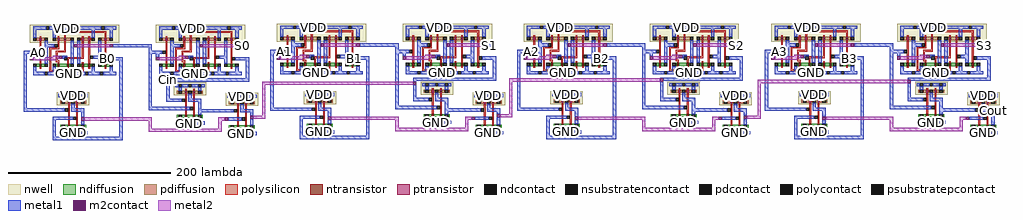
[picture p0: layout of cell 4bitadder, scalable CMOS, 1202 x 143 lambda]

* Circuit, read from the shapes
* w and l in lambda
.subckt 4bitadder A0 A1 A2 A3 B0 B1 B2 B3 Cin Cout GND S0 S1 S2 S3 VDD
M1 n1 A0 GND GND nfet w=4 l=2
M2 n2 B0 GND GND nfet w=4 l=2
M3 n3 A0 n2 GND nfet w=4 l=2
M4 n4 A0 GND GND nfet w=4 l=2
M5 n5 B0 n4 GND nfet w=4 l=2
M6 n6 n1 n3 GND nfet w=4 l=2
M7 GND n7 n6 GND nfet w=4 l=2
M8 GND B0 n7 GND nfet w=4 l=2
M9 n8 n3 GND GND nfet w=4 l=2
M10 n9 Cin GND GND nfet w=4 l=2
M11 n10 Cin GND GND nfet w=4 l=2
M12 n11 n3 n10 GND nfet w=4 l=2
M13 S0 n3 n9 GND nfet w=4 l=2
M14 n12 n8 S0 GND nfet w=4 l=2
M15 GND n13 n12 GND nfet w=4 l=2
M16 GND Cin n13 GND nfet w=4 l=2
M17 n14 n11 GND GND nfet w=4 l=2
M18 n15 n5 n14 GND nfet w=4 l=2
M19 n16 A1 GND GND nfet w=4 l=2
M20 n17 B1 GND GND nfet w=4 l=2
M21 n18 A1 n17 GND nfet w=4 l=2
M22 n19 A1 GND GND nfet w=4 l=2
M23 n20 B1 n19 GND nfet w=4 l=2
M24 n21 n16 n18 GND nfet w=4 l=2
M25 GND n22 n21 GND nfet w=4 l=2
M26 GND B1 n22 GND nfet w=4 l=2
M27 n23 n18 GND GND nfet w=4 l=2
M28 n24 n15 GND GND nfet w=4 l=2
M29 n25 n15 GND GND nfet w=4 l=2
M30 n26 n18 n25 GND nfet w=4 l=2
M31 S1 n18 n24 GND nfet w=4 l=2
M32 n27 n23 S1 GND nfet w=4 l=2
M33 GND n28 n27 GND nfet w=4 l=2
M34 GND n15 n28 GND nfet w=4 l=2
M35 n29 n26 GND GND nfet w=4 l=2
M36 n30 n20 n29 GND nfet w=4 l=2
M37 n31 A2 GND GND nfet w=4 l=2
M38 n32 B2 GND GND nfet w=4 l=2
M39 n33 A2 n32 GND nfet w=4 l=2
M40 n34 A2 GND GND nfet w=4 l=2
M41 n35 B2 n34 GND nfet w=4 l=2
M42 n36 n31 n33 GND nfet w=4 l=2
M43 GND n37 n36 GND nfet w=4 l=2
M44 GND B2 n37 GND nfet w=4 l=2
M45 n38 n33 GND GND nfet w=4 l=2
M46 n39 n30 GND GND nfet w=4 l=2
M47 n40 n30 GND GND nfet w=4 l=2
M48 n41 n33 n40 GND nfet w=4 l=2
M49 S2 n33 n39 GND nfet w=4 l=2
M50 n42 n38 S2 GND nfet w=4 l=2
M51 GND n43 n42 GND nfet w=4 l=2
M52 GND n30 n43 GND nfet w=4 l=2
M53 n44 n41 GND GND nfet w=4 l=2
M54 n45 n35 n44 GND nfet w=4 l=2
M55 n46 A3 GND GND nfet w=4 l=2
M56 n47 B3 GND GND nfet w=4 l=2
M57 n48 A3 n47 GND nfet w=4 l=2
M58 n49 A3 GND GND nfet w=4 l=2
M59 n50 B3 n49 GND nfet w=4 l=2
M60 n51 n46 n48 GND nfet w=4 l=2
M61 GND n52 n51 GND nfet w=4 l=2
M62 GND B3 n52 GND nfet w=4 l=2
M63 n53 n48 GND GND nfet w=4 l=2
M64 n54 n45 GND GND nfet w=4 l=2
M65 n55 n45 GND GND nfet w=4 l=2
M66 n56 n48 n55 GND nfet w=4 l=2
M67 S3 n48 n54 GND nfet w=4 l=2
M68 n57 n53 S3 GND nfet w=4 l=2
M69 GND n58 n57 GND nfet w=4 l=2
M70 GND n45 n58 GND nfet w=4 l=2
M71 n59 n56 GND GND nfet w=4 l=2
M72 Cout n50 n59 GND nfet w=4 l=2
M73 n1 A0 VDD VDD pfet w=4 l=2
M74 n60 n1 VDD VDD pfet w=4 l=2
M75 n3 B0 n60 VDD pfet w=4 l=2
M76 n5 A0 VDD VDD pfet w=4 l=2
M77 VDD B0 n5 VDD pfet w=4 l=2
M78 n61 A0 n3 VDD pfet w=4 l=2
M79 VDD n7 n61 VDD pfet w=4 l=2
M80 VDD B0 n7 VDD pfet w=4 l=2
M81 n8 n3 VDD VDD pfet w=4 l=2
M82 n62 n8 VDD VDD pfet w=4 l=2
M83 n11 Cin VDD VDD pfet w=4 l=2
M84 S0 Cin n62 VDD pfet w=4 l=2
M85 VDD n3 n11 VDD pfet w=4 l=2
M86 n63 n3 S0 VDD pfet w=4 l=2
M87 VDD n13 n63 VDD pfet w=4 l=2
M88 VDD Cin n13 VDD pfet w=4 l=2
M89 n15 n11 VDD VDD pfet w=4 l=2
M90 VDD n5 n15 VDD pfet w=4 l=2
M91 n16 A1 VDD VDD pfet w=4 l=2
M92 n64 n16 VDD VDD pfet w=4 l=2
M93 n18 B1 n64 VDD pfet w=4 l=2
M94 n20 A1 VDD VDD pfet w=4 l=2
M95 VDD B1 n20 VDD pfet w=4 l=2
M96 n65 A1 n18 VDD pfet w=4 l=2
M97 VDD n22 n65 VDD pfet w=4 l=2
M98 VDD B1 n22 VDD pfet w=4 l=2
M99 n23 n18 VDD VDD pfet w=4 l=2
M100 n66 n23 VDD VDD pfet w=4 l=2
M101 n26 n15 VDD VDD pfet w=4 l=2
M102 S1 n15 n66 VDD pfet w=4 l=2
M103 VDD n18 n26 VDD pfet w=4 l=2
M104 n67 n18 S1 VDD pfet w=4 l=2
M105 VDD n28 n67 VDD pfet w=4 l=2
M106 VDD n15 n28 VDD pfet w=4 l=2
M107 n30 n26 VDD VDD pfet w=4 l=2
M108 VDD n20 n30 VDD pfet w=4 l=2
M109 n31 A2 VDD VDD pfet w=4 l=2
M110 n68 n31 VDD VDD pfet w=4 l=2
M111 n33 B2 n68 VDD pfet w=4 l=2
M112 n35 A2 VDD VDD pfet w=4 l=2
M113 VDD B2 n35 VDD pfet w=4 l=2
M114 n69 A2 n33 VDD pfet w=4 l=2
M115 VDD n37 n69 VDD pfet w=4 l=2
M116 VDD B2 n37 VDD pfet w=4 l=2
M117 n38 n33 VDD VDD pfet w=4 l=2
M118 n70 n38 VDD VDD pfet w=4 l=2
M119 n41 n30 VDD VDD pfet w=4 l=2
M120 S2 n30 n70 VDD pfet w=4 l=2
M121 VDD n33 n41 VDD pfet w=4 l=2
M122 n71 n33 S2 VDD pfet w=4 l=2
M123 VDD n43 n71 VDD pfet w=4 l=2
M124 VDD n30 n43 VDD pfet w=4 l=2
M125 n45 n41 VDD VDD pfet w=4 l=2
M126 VDD n35 n45 VDD pfet w=4 l=2
M127 n46 A3 VDD VDD pfet w=4 l=2
M128 n72 n46 VDD VDD pfet w=4 l=2
M129 n48 B3 n72 VDD pfet w=4 l=2
M130 n50 A3 VDD VDD pfet w=4 l=2
M131 VDD B3 n50 VDD pfet w=4 l=2
M132 n73 A3 n48 VDD pfet w=4 l=2
M133 VDD n52 n73 VDD pfet w=4 l=2
M134 VDD B3 n52 VDD pfet w=4 l=2
M135 n53 n48 VDD VDD pfet w=4 l=2
M136 n74 n53 VDD VDD pfet w=4 l=2
M137 n56 n45 VDD VDD pfet w=4 l=2
M138 S3 n45 n74 VDD pfet w=4 l=2
M139 VDD n48 n56 VDD pfet w=4 l=2
M140 n75 n48 S3 VDD pfet w=4 l=2
M141 VDD n58 n75 VDD pfet w=4 l=2
M142 VDD n45 n58 VDD pfet w=4 l=2
M143 Cout n56 VDD VDD pfet w=4 l=2
M144 VDD n50 Cout VDD pfet w=4 l=2
.ends

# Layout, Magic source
magic
tech scmos
<< nwell >>
rect -40 8 70 30
rect 115 8 225 30
rect 264 9 374 31
rect 419 9 529 31
rect 568 9 678 31
rect 723 9 833 31
rect 873 9 983 31
rect 1028 9 1138 31
rect -7 -69 33 -53
rect 137 -57 177 -41
rect 201 -70 241 -54
rect 297 -68 337 -52
rect 441 -56 481 -40
rect 505 -69 545 -53
rect 601 -68 641 -52
rect 745 -56 785 -40
rect 809 -69 849 -53
rect 906 -68 946 -52
rect 1050 -56 1090 -40
rect 1114 -69 1154 -53
<< polysilicon >>
rect 2 20 54 22
rect -28 14 -26 16
rect -6 14 -4 16
rect 2 14 4 20
rect 24 14 26 16
rect 32 14 34 16
rect 52 14 54 20
rect 157 20 209 22
rect 127 14 129 16
rect 149 14 151 16
rect 157 14 159 20
rect 179 14 181 16
rect 187 14 189 16
rect 207 14 209 20
rect 306 21 358 23
rect 276 15 278 17
rect 298 15 300 17
rect 306 15 308 21
rect 328 15 330 17
rect 336 15 338 17
rect 356 15 358 21
rect 461 21 513 23
rect 431 15 433 17
rect 453 15 455 17
rect 461 15 463 21
rect 483 15 485 17
rect 491 15 493 17
rect 511 15 513 21
rect 610 21 662 23
rect 580 15 582 17
rect 602 15 604 17
rect 610 15 612 21
rect 632 15 634 17
rect 640 15 642 17
rect 660 15 662 21
rect 765 21 817 23
rect 735 15 737 17
rect 757 15 759 17
rect 765 15 767 21
rect 787 15 789 17
rect 795 15 797 17
rect 815 15 817 21
rect 915 21 967 23
rect 885 15 887 17
rect 907 15 909 17
rect 915 15 917 21
rect 937 15 939 17
rect 945 15 947 17
rect 965 15 967 21
rect 1070 21 1122 23
rect 1040 15 1042 17
rect 1062 15 1064 17
rect 1070 15 1072 21
rect 1092 15 1094 17
rect 1100 15 1102 17
rect 1120 15 1122 21
rect -28 -18 -26 10
rect -6 2 -4 10
rect -16 0 -4 2
rect -28 -24 -26 -22
rect -16 -26 -14 0
rect 2 -2 4 10
rect -8 -4 4 -2
rect -8 -14 -6 -4
rect 24 -10 26 10
rect 6 -12 26 -10
rect -8 -16 -4 -14
rect -6 -18 -4 -16
rect 6 -18 8 -12
rect 24 -18 26 -16
rect 32 -18 34 10
rect 52 -18 54 10
rect 127 -18 129 10
rect 149 2 151 10
rect 139 0 151 2
rect -6 -24 -4 -22
rect 6 -24 8 -22
rect 24 -26 26 -22
rect 32 -24 34 -22
rect 52 -24 54 -22
rect 127 -24 129 -22
rect -16 -28 26 -26
rect 139 -26 141 0
rect 157 -2 159 10
rect 147 -4 159 -2
rect 147 -14 149 -4
rect 179 -10 181 10
rect 161 -12 181 -10
rect 147 -16 151 -14
rect 149 -18 151 -16
rect 161 -18 163 -12
rect 179 -18 181 -16
rect 187 -18 189 10
rect 207 -18 209 10
rect 276 -17 278 11
rect 298 3 300 11
rect 288 1 300 3
rect 149 -24 151 -22
rect 161 -24 163 -22
rect 179 -26 181 -22
rect 187 -24 189 -22
rect 207 -24 209 -22
rect 276 -23 278 -21
rect 139 -28 181 -26
rect 288 -25 290 1
rect 306 -1 308 11
rect 296 -3 308 -1
rect 296 -13 298 -3
rect 328 -9 330 11
rect 310 -11 330 -9
rect 296 -15 300 -13
rect 298 -17 300 -15
rect 310 -17 312 -11
rect 328 -17 330 -15
rect 336 -17 338 11
rect 356 -17 358 11
rect 431 -17 433 11
rect 453 3 455 11
rect 443 1 455 3
rect 298 -23 300 -21
rect 310 -23 312 -21
rect 328 -25 330 -21
rect 336 -23 338 -21
rect 356 -23 358 -21
rect 431 -23 433 -21
rect 288 -27 330 -25
rect 443 -25 445 1
rect 461 -1 463 11
rect 451 -3 463 -1
rect 451 -13 453 -3
rect 483 -9 485 11
rect 465 -11 485 -9
rect 451 -15 455 -13
rect 453 -17 455 -15
rect 465 -17 467 -11
rect 483 -17 485 -15
rect 491 -17 493 11
rect 511 -17 513 11
rect 580 -17 582 11
rect 602 3 604 11
rect 592 1 604 3
rect 453 -23 455 -21
rect 465 -23 467 -21
rect 483 -25 485 -21
rect 491 -23 493 -21
rect 511 -23 513 -21
rect 580 -23 582 -21
rect 443 -27 485 -25
rect 592 -25 594 1
rect 610 -1 612 11
rect 600 -3 612 -1
rect 600 -13 602 -3
rect 632 -9 634 11
rect 614 -11 634 -9
rect 600 -15 604 -13
rect 602 -17 604 -15
rect 614 -17 616 -11
rect 632 -17 634 -15
rect 640 -17 642 11
rect 660 -17 662 11
rect 735 -17 737 11
rect 757 3 759 11
rect 747 1 759 3
rect 602 -23 604 -21
rect 614 -23 616 -21
rect 632 -25 634 -21
rect 640 -23 642 -21
rect 660 -23 662 -21
rect 735 -23 737 -21
rect 592 -27 634 -25
rect 747 -25 749 1
rect 765 -1 767 11
rect 755 -3 767 -1
rect 755 -13 757 -3
rect 787 -9 789 11
rect 769 -11 789 -9
rect 755 -15 759 -13
rect 757 -17 759 -15
rect 769 -17 771 -11
rect 787 -17 789 -15
rect 795 -17 797 11
rect 815 -17 817 11
rect 885 -17 887 11
rect 907 3 909 11
rect 897 1 909 3
rect 757 -23 759 -21
rect 769 -23 771 -21
rect 787 -25 789 -21
rect 795 -23 797 -21
rect 815 -23 817 -21
rect 885 -23 887 -21
rect 747 -27 789 -25
rect 897 -25 899 1
rect 915 -1 917 11
rect 905 -3 917 -1
rect 905 -13 907 -3
rect 937 -9 939 11
rect 919 -11 939 -9
rect 905 -15 909 -13
rect 907 -17 909 -15
rect 919 -17 921 -11
rect 937 -17 939 -15
rect 945 -17 947 11
rect 965 -17 967 11
rect 1040 -17 1042 11
rect 1062 3 1064 11
rect 1052 1 1064 3
rect 907 -23 909 -21
rect 919 -23 921 -21
rect 937 -25 939 -21
rect 945 -23 947 -21
rect 965 -23 967 -21
rect 1040 -23 1042 -21
rect 897 -27 939 -25
rect 1052 -25 1054 1
rect 1070 -1 1072 11
rect 1060 -3 1072 -1
rect 1060 -13 1062 -3
rect 1092 -9 1094 11
rect 1074 -11 1094 -9
rect 1060 -15 1064 -13
rect 1062 -17 1064 -15
rect 1074 -17 1076 -11
rect 1092 -17 1094 -15
rect 1100 -17 1102 11
rect 1120 -17 1122 11
rect 1062 -23 1064 -21
rect 1074 -23 1076 -21
rect 1092 -25 1094 -21
rect 1100 -23 1102 -21
rect 1120 -23 1122 -21
rect 1052 -27 1094 -25
rect 151 -51 153 -49
rect 161 -51 163 -49
rect 455 -50 457 -48
rect 465 -50 467 -48
rect 759 -50 761 -48
rect 769 -50 771 -48
rect 1064 -50 1066 -48
rect 1074 -50 1076 -48
rect 7 -63 9 -61
rect 17 -63 19 -61
rect 7 -93 9 -67
rect 17 -93 19 -67
rect 151 -81 153 -55
rect 161 -81 163 -55
rect 311 -62 313 -60
rect 321 -62 323 -60
rect 215 -64 217 -62
rect 225 -64 227 -62
rect 151 -87 153 -85
rect 161 -87 163 -85
rect 215 -94 217 -68
rect 225 -94 227 -68
rect 311 -92 313 -66
rect 321 -92 323 -66
rect 455 -80 457 -54
rect 465 -80 467 -54
rect 519 -63 521 -61
rect 529 -63 531 -61
rect 615 -62 617 -60
rect 625 -62 627 -60
rect 455 -86 457 -84
rect 465 -86 467 -84
rect 7 -99 9 -97
rect 17 -99 19 -97
rect 519 -93 521 -67
rect 529 -93 531 -67
rect 615 -92 617 -66
rect 625 -92 627 -66
rect 759 -80 761 -54
rect 769 -80 771 -54
rect 823 -63 825 -61
rect 833 -63 835 -61
rect 920 -62 922 -60
rect 930 -62 932 -60
rect 759 -86 761 -84
rect 769 -86 771 -84
rect 311 -98 313 -96
rect 321 -98 323 -96
rect 823 -93 825 -67
rect 833 -93 835 -67
rect 920 -92 922 -66
rect 930 -92 932 -66
rect 1064 -80 1066 -54
rect 1074 -80 1076 -54
rect 1128 -63 1130 -61
rect 1138 -63 1140 -61
rect 1064 -86 1066 -84
rect 1074 -86 1076 -84
rect 215 -100 217 -98
rect 225 -100 227 -98
rect 519 -99 521 -97
rect 529 -99 531 -97
rect 615 -98 617 -96
rect 625 -98 627 -96
rect 1128 -93 1130 -67
rect 1138 -93 1140 -67
rect 823 -99 825 -97
rect 833 -99 835 -97
rect 920 -98 922 -96
rect 930 -98 932 -96
rect 1128 -99 1130 -97
rect 1138 -99 1140 -97
<< ndiffusion >>
rect -32 -22 -28 -18
rect -26 -22 -22 -18
rect -8 -22 -6 -18
rect -4 -22 6 -18
rect 8 -22 10 -18
rect 22 -22 24 -18
rect 26 -22 32 -18
rect 34 -22 36 -18
rect 48 -22 52 -18
rect 54 -22 58 -18
rect 123 -22 127 -18
rect 129 -22 133 -18
rect 147 -22 149 -18
rect 151 -22 161 -18
rect 163 -22 165 -18
rect 177 -22 179 -18
rect 181 -22 187 -18
rect 189 -22 191 -18
rect 203 -22 207 -18
rect 209 -22 213 -18
rect 272 -21 276 -17
rect 278 -21 282 -17
rect 296 -21 298 -17
rect 300 -21 310 -17
rect 312 -21 314 -17
rect 326 -21 328 -17
rect 330 -21 336 -17
rect 338 -21 340 -17
rect 352 -21 356 -17
rect 358 -21 362 -17
rect 427 -21 431 -17
rect 433 -21 437 -17
rect 451 -21 453 -17
rect 455 -21 465 -17
rect 467 -21 469 -17
rect 481 -21 483 -17
rect 485 -21 491 -17
rect 493 -21 495 -17
rect 507 -21 511 -17
rect 513 -21 517 -17
rect 576 -21 580 -17
rect 582 -21 586 -17
rect 600 -21 602 -17
rect 604 -21 614 -17
rect 616 -21 618 -17
rect 630 -21 632 -17
rect 634 -21 640 -17
rect 642 -21 644 -17
rect 656 -21 660 -17
rect 662 -21 666 -17
rect 731 -21 735 -17
rect 737 -21 741 -17
rect 755 -21 757 -17
rect 759 -21 769 -17
rect 771 -21 773 -17
rect 785 -21 787 -17
rect 789 -21 795 -17
rect 797 -21 799 -17
rect 811 -21 815 -17
rect 817 -21 821 -17
rect 881 -21 885 -17
rect 887 -21 891 -17
rect 905 -21 907 -17
rect 909 -21 919 -17
rect 921 -21 923 -17
rect 935 -21 937 -17
rect 939 -21 945 -17
rect 947 -21 949 -17
rect 961 -21 965 -17
rect 967 -21 971 -17
rect 1036 -21 1040 -17
rect 1042 -21 1046 -17
rect 1060 -21 1062 -17
rect 1064 -21 1074 -17
rect 1076 -21 1078 -17
rect 1090 -21 1092 -17
rect 1094 -21 1100 -17
rect 1102 -21 1104 -17
rect 1116 -21 1120 -17
rect 1122 -21 1126 -17
rect 141 -85 143 -81
rect 147 -85 151 -81
rect 153 -85 161 -81
rect 163 -85 167 -81
rect 171 -85 173 -81
rect -3 -97 -1 -93
rect 3 -97 7 -93
rect 9 -97 17 -93
rect 19 -97 23 -93
rect 27 -97 29 -93
rect 445 -84 447 -80
rect 451 -84 455 -80
rect 457 -84 465 -80
rect 467 -84 471 -80
rect 475 -84 477 -80
rect 205 -98 207 -94
rect 211 -98 215 -94
rect 217 -98 225 -94
rect 227 -98 231 -94
rect 235 -98 237 -94
rect 301 -96 303 -92
rect 307 -96 311 -92
rect 313 -96 321 -92
rect 323 -96 327 -92
rect 331 -96 333 -92
rect 749 -84 751 -80
rect 755 -84 759 -80
rect 761 -84 769 -80
rect 771 -84 775 -80
rect 779 -84 781 -80
rect 509 -97 511 -93
rect 515 -97 519 -93
rect 521 -97 529 -93
rect 531 -97 535 -93
rect 539 -97 541 -93
rect 605 -96 607 -92
rect 611 -96 615 -92
rect 617 -96 625 -92
rect 627 -96 631 -92
rect 635 -96 637 -92
rect 1054 -84 1056 -80
rect 1060 -84 1064 -80
rect 1066 -84 1074 -80
rect 1076 -84 1080 -80
rect 1084 -84 1086 -80
rect 813 -97 815 -93
rect 819 -97 823 -93
rect 825 -97 833 -93
rect 835 -97 839 -93
rect 843 -97 845 -93
rect 910 -96 912 -92
rect 916 -96 920 -92
rect 922 -96 930 -92
rect 932 -96 936 -92
rect 940 -96 942 -92
rect 1118 -97 1120 -93
rect 1124 -97 1128 -93
rect 1130 -97 1138 -93
rect 1140 -97 1144 -93
rect 1148 -97 1150 -93
<< pdiffusion >>
rect -32 10 -28 14
rect -26 10 -22 14
rect -8 10 -6 14
rect -4 10 2 14
rect 4 10 10 14
rect 22 10 24 14
rect 26 10 32 14
rect 34 10 36 14
rect 48 10 52 14
rect 54 10 58 14
rect 123 10 127 14
rect 129 10 133 14
rect 147 10 149 14
rect 151 10 157 14
rect 159 10 165 14
rect 177 10 179 14
rect 181 10 187 14
rect 189 10 191 14
rect 203 10 207 14
rect 209 10 213 14
rect 272 11 276 15
rect 278 11 282 15
rect 296 11 298 15
rect 300 11 306 15
rect 308 11 314 15
rect 326 11 328 15
rect 330 11 336 15
rect 338 11 340 15
rect 352 11 356 15
rect 358 11 362 15
rect 427 11 431 15
rect 433 11 437 15
rect 451 11 453 15
rect 455 11 461 15
rect 463 11 469 15
rect 481 11 483 15
rect 485 11 491 15
rect 493 11 495 15
rect 507 11 511 15
rect 513 11 517 15
rect 576 11 580 15
rect 582 11 586 15
rect 600 11 602 15
rect 604 11 610 15
rect 612 11 618 15
rect 630 11 632 15
rect 634 11 640 15
rect 642 11 644 15
rect 656 11 660 15
rect 662 11 666 15
rect 731 11 735 15
rect 737 11 741 15
rect 755 11 757 15
rect 759 11 765 15
rect 767 11 773 15
rect 785 11 787 15
rect 789 11 795 15
rect 797 11 799 15
rect 811 11 815 15
rect 817 11 821 15
rect 881 11 885 15
rect 887 11 891 15
rect 905 11 907 15
rect 909 11 915 15
rect 917 11 923 15
rect 935 11 937 15
rect 939 11 945 15
rect 947 11 949 15
rect 961 11 965 15
rect 967 11 971 15
rect 1036 11 1040 15
rect 1042 11 1046 15
rect 1060 11 1062 15
rect 1064 11 1070 15
rect 1072 11 1078 15
rect 1090 11 1092 15
rect 1094 11 1100 15
rect 1102 11 1104 15
rect 1116 11 1120 15
rect 1122 11 1126 15
rect 141 -55 143 -51
rect 147 -55 151 -51
rect 153 -55 155 -51
rect 159 -55 161 -51
rect 163 -55 167 -51
rect 171 -55 173 -51
rect 445 -54 447 -50
rect 451 -54 455 -50
rect 457 -54 459 -50
rect 463 -54 465 -50
rect 467 -54 471 -50
rect 475 -54 477 -50
rect 749 -54 751 -50
rect 755 -54 759 -50
rect 761 -54 763 -50
rect 767 -54 769 -50
rect 771 -54 775 -50
rect 779 -54 781 -50
rect 1054 -54 1056 -50
rect 1060 -54 1064 -50
rect 1066 -54 1068 -50
rect 1072 -54 1074 -50
rect 1076 -54 1080 -50
rect 1084 -54 1086 -50
rect -3 -67 -1 -63
rect 3 -67 7 -63
rect 9 -67 11 -63
rect 15 -67 17 -63
rect 19 -67 23 -63
rect 27 -67 29 -63
rect 205 -68 207 -64
rect 211 -68 215 -64
rect 217 -68 219 -64
rect 223 -68 225 -64
rect 227 -68 231 -64
rect 235 -68 237 -64
rect 301 -66 303 -62
rect 307 -66 311 -62
rect 313 -66 315 -62
rect 319 -66 321 -62
rect 323 -66 327 -62
rect 331 -66 333 -62
rect 509 -67 511 -63
rect 515 -67 519 -63
rect 521 -67 523 -63
rect 527 -67 529 -63
rect 531 -67 535 -63
rect 539 -67 541 -63
rect 605 -66 607 -62
rect 611 -66 615 -62
rect 617 -66 619 -62
rect 623 -66 625 -62
rect 627 -66 631 -62
rect 635 -66 637 -62
rect 813 -67 815 -63
rect 819 -67 823 -63
rect 825 -67 827 -63
rect 831 -67 833 -63
rect 835 -67 839 -63
rect 843 -67 845 -63
rect 910 -66 912 -62
rect 916 -66 920 -62
rect 922 -66 924 -62
rect 928 -66 930 -62
rect 932 -66 936 -62
rect 940 -66 942 -62
rect 1118 -67 1120 -63
rect 1124 -67 1128 -63
rect 1130 -67 1132 -63
rect 1136 -67 1138 -63
rect 1140 -67 1144 -63
rect 1148 -67 1150 -63
<< metal1 >>
rect -36 24 -20 28
rect -16 24 14 28
rect 18 24 48 28
rect 52 24 66 28
rect 119 24 135 28
rect 139 24 169 28
rect 173 24 203 28
rect 207 24 221 28
rect 268 25 284 29
rect 288 25 318 29
rect 322 25 352 29
rect 356 25 370 29
rect 423 25 439 29
rect 443 25 473 29
rect 477 25 507 29
rect 511 25 525 29
rect 572 25 588 29
rect 592 25 622 29
rect 626 25 656 29
rect 660 25 674 29
rect 727 25 743 29
rect 747 25 777 29
rect 781 25 811 29
rect 815 25 829 29
rect 877 25 893 29
rect 897 25 927 29
rect 931 25 961 29
rect 965 25 979 29
rect 1032 25 1048 29
rect 1052 25 1082 29
rect 1086 25 1116 29
rect 1120 25 1134 29
rect -36 14 -32 24
rect -12 14 -8 24
rect 36 14 40 24
rect 58 14 62 24
rect -22 6 -18 10
rect -22 2 -10 6
rect -48 -6 -32 -2
rect -48 -73 -44 -6
rect -40 -10 -36 -6
rect -22 -18 -18 2
rect 0 -10 6 -8
rect 0 -12 2 -10
rect 10 -18 14 10
rect 119 14 123 24
rect 143 14 147 24
rect 191 14 195 24
rect 213 14 217 24
rect 18 -18 22 10
rect 44 -8 48 10
rect 133 6 137 10
rect 62 2 110 6
rect 38 -12 48 -8
rect 106 -2 110 2
rect 133 2 145 6
rect 106 -6 123 -2
rect 44 -18 48 -12
rect 58 -14 74 -10
rect -36 -28 -32 -22
rect -12 -28 -8 -22
rect 36 -28 40 -22
rect 58 -28 62 -22
rect -36 -32 -22 -28
rect -18 -32 28 -28
rect 32 -32 46 -28
rect 50 -32 66 -28
rect -5 -59 -1 -55
rect 3 -59 11 -55
rect 15 -59 23 -55
rect 27 -59 31 -55
rect -1 -63 3 -59
rect 23 -63 27 -59
rect 11 -73 15 -67
rect -48 -77 3 -73
rect 11 -77 27 -73
rect -12 -87 13 -83
rect 23 -84 27 -77
rect -12 -108 -8 -87
rect 23 -93 27 -88
rect -1 -101 3 -97
rect -5 -105 -1 -101
rect 3 -105 12 -101
rect 16 -105 23 -101
rect 27 -105 31 -101
rect 70 -108 74 -14
rect 106 -71 110 -6
rect 115 -10 119 -6
rect 133 -18 137 2
rect 155 -10 161 -8
rect 155 -12 157 -10
rect 165 -18 169 10
rect 268 15 272 25
rect 292 15 296 25
rect 340 15 344 25
rect 362 15 366 25
rect 173 -18 177 10
rect 199 -8 203 10
rect 282 7 286 11
rect 218 2 224 6
rect 282 3 294 7
rect 193 -12 203 -8
rect 256 -5 272 -1
rect 199 -18 203 -12
rect 213 -14 230 -10
rect 119 -28 123 -22
rect 143 -28 147 -22
rect 191 -28 195 -22
rect 213 -28 217 -22
rect 119 -32 133 -28
rect 137 -32 183 -28
rect 187 -32 201 -28
rect 205 -32 221 -28
rect 226 -36 230 -14
rect 128 -40 230 -36
rect 128 -61 132 -40
rect 139 -47 143 -43
rect 147 -47 155 -43
rect 159 -47 167 -43
rect 171 -47 175 -43
rect 143 -51 147 -47
rect 167 -51 171 -47
rect 155 -61 159 -55
rect 203 -60 207 -56
rect 211 -60 219 -56
rect 223 -60 231 -56
rect 235 -60 239 -56
rect 128 -65 147 -61
rect 155 -65 171 -61
rect 106 -75 157 -71
rect 167 -74 171 -65
rect 207 -64 211 -60
rect 231 -64 235 -60
rect 219 -74 223 -68
rect 256 -72 260 -5
rect 264 -9 268 -5
rect 282 -17 286 3
rect 304 -9 310 -7
rect 304 -11 306 -9
rect 314 -17 318 11
rect 423 15 427 25
rect 447 15 451 25
rect 495 15 499 25
rect 517 15 521 25
rect 322 -17 326 11
rect 348 -7 352 11
rect 437 7 441 11
rect 366 3 414 7
rect 342 -11 352 -7
rect 410 -1 414 3
rect 437 3 449 7
rect 410 -5 427 -1
rect 348 -17 352 -11
rect 362 -13 378 -9
rect 268 -27 272 -21
rect 292 -27 296 -21
rect 340 -27 344 -21
rect 362 -27 366 -21
rect 268 -31 282 -27
rect 286 -31 332 -27
rect 336 -31 350 -27
rect 354 -31 370 -27
rect 299 -58 303 -54
rect 307 -58 315 -54
rect 319 -58 327 -54
rect 331 -58 335 -54
rect 303 -62 307 -58
rect 327 -62 331 -58
rect 315 -72 319 -66
rect 167 -78 211 -74
rect 219 -78 235 -74
rect 256 -76 307 -72
rect 315 -76 331 -72
rect 167 -81 171 -78
rect 231 -82 235 -78
rect 143 -89 147 -85
rect 204 -88 221 -84
rect 139 -93 143 -89
rect 147 -93 155 -89
rect 159 -93 167 -89
rect 171 -93 175 -89
rect 231 -94 235 -86
rect 292 -86 317 -82
rect 327 -83 331 -76
rect 207 -102 211 -98
rect 203 -106 207 -102
rect 211 -106 219 -102
rect 223 -106 231 -102
rect 235 -106 239 -102
rect -12 -112 74 -108
rect 292 -107 296 -86
rect 327 -92 331 -87
rect 303 -100 307 -96
rect 299 -104 303 -100
rect 307 -104 316 -100
rect 320 -104 327 -100
rect 331 -104 335 -100
rect 374 -107 378 -13
rect 410 -70 414 -5
rect 419 -9 423 -5
rect 437 -17 441 3
rect 459 -9 465 -7
rect 459 -11 461 -9
rect 469 -17 473 11
rect 572 15 576 25
rect 596 15 600 25
rect 644 15 648 25
rect 666 15 670 25
rect 477 -17 481 11
rect 503 -7 507 11
rect 586 7 590 11
rect 522 3 528 7
rect 586 3 598 7
rect 497 -11 507 -7
rect 560 -5 576 -1
rect 503 -17 507 -11
rect 517 -13 534 -9
rect 423 -27 427 -21
rect 447 -27 451 -21
rect 495 -27 499 -21
rect 517 -27 521 -21
rect 423 -31 437 -27
rect 441 -31 487 -27
rect 491 -31 505 -27
rect 509 -31 525 -27
rect 530 -35 534 -13
rect 432 -39 534 -35
rect 432 -40 436 -39
rect 432 -60 436 -44
rect 443 -46 447 -42
rect 451 -46 459 -42
rect 463 -46 471 -42
rect 475 -46 479 -42
rect 447 -50 451 -46
rect 471 -50 475 -46
rect 459 -60 463 -54
rect 507 -59 511 -55
rect 515 -59 523 -55
rect 527 -59 535 -55
rect 539 -59 543 -55
rect 432 -64 451 -60
rect 459 -64 475 -60
rect 410 -74 461 -70
rect 471 -73 475 -64
rect 511 -63 515 -59
rect 535 -63 539 -59
rect 523 -73 527 -67
rect 560 -72 564 -5
rect 568 -9 572 -5
rect 586 -17 590 3
rect 608 -9 614 -7
rect 608 -11 610 -9
rect 618 -17 622 11
rect 727 15 731 25
rect 751 15 755 25
rect 799 15 803 25
rect 821 15 825 25
rect 626 -17 630 11
rect 652 -7 656 11
rect 741 7 745 11
rect 670 3 718 7
rect 646 -11 656 -7
rect 714 -1 718 3
rect 741 3 753 7
rect 714 -5 731 -1
rect 652 -17 656 -11
rect 666 -13 682 -9
rect 572 -27 576 -21
rect 596 -27 600 -21
rect 644 -27 648 -21
rect 666 -27 670 -21
rect 572 -31 586 -27
rect 590 -31 636 -27
rect 640 -31 654 -27
rect 658 -31 674 -27
rect 603 -58 607 -54
rect 611 -58 619 -54
rect 623 -58 631 -54
rect 635 -58 639 -54
rect 607 -62 611 -58
rect 631 -62 635 -58
rect 619 -72 623 -66
rect 471 -77 515 -73
rect 523 -77 539 -73
rect 560 -76 611 -72
rect 619 -76 635 -72
rect 471 -80 475 -77
rect 535 -80 539 -77
rect 447 -88 451 -84
rect 508 -87 525 -83
rect 443 -92 447 -88
rect 451 -92 459 -88
rect 463 -92 471 -88
rect 475 -92 479 -88
rect 535 -93 539 -84
rect 596 -86 621 -82
rect 631 -83 635 -76
rect 511 -101 515 -97
rect 507 -105 511 -101
rect 515 -105 523 -101
rect 527 -105 535 -101
rect 539 -105 543 -101
rect 292 -111 378 -107
rect 596 -107 600 -86
rect 631 -92 635 -87
rect 607 -100 611 -96
rect 603 -104 607 -100
rect 611 -104 620 -100
rect 624 -104 631 -100
rect 635 -104 639 -100
rect 678 -107 682 -13
rect 714 -70 718 -5
rect 723 -9 727 -5
rect 741 -17 745 3
rect 763 -9 769 -7
rect 763 -11 765 -9
rect 773 -17 777 11
rect 877 15 881 25
rect 901 15 905 25
rect 949 15 953 25
rect 971 15 975 25
rect 781 -17 785 11
rect 807 -7 811 11
rect 891 7 895 11
rect 826 3 832 7
rect 891 3 903 7
rect 801 -11 811 -7
rect 865 -5 881 -1
rect 807 -17 811 -11
rect 821 -13 838 -9
rect 727 -27 731 -21
rect 751 -27 755 -21
rect 799 -27 803 -21
rect 821 -27 825 -21
rect 727 -31 741 -27
rect 745 -31 791 -27
rect 795 -31 809 -27
rect 813 -31 829 -27
rect 834 -35 838 -13
rect 736 -36 838 -35
rect 740 -39 838 -36
rect 736 -60 740 -40
rect 747 -46 751 -42
rect 755 -46 763 -42
rect 767 -46 775 -42
rect 779 -46 783 -42
rect 751 -50 755 -46
rect 775 -50 779 -46
rect 763 -60 767 -54
rect 811 -59 815 -55
rect 819 -59 827 -55
rect 831 -59 839 -55
rect 843 -59 847 -55
rect 736 -64 755 -60
rect 763 -64 779 -60
rect 714 -74 765 -70
rect 775 -73 779 -64
rect 815 -63 819 -59
rect 839 -63 843 -59
rect 827 -73 831 -67
rect 865 -72 869 -5
rect 873 -9 877 -5
rect 891 -17 895 3
rect 913 -9 919 -7
rect 913 -11 915 -9
rect 923 -17 927 11
rect 1032 15 1036 25
rect 1056 15 1060 25
rect 1104 15 1108 25
rect 1126 15 1130 25
rect 931 -17 935 11
rect 957 -7 961 11
rect 1046 7 1050 11
rect 975 3 1023 7
rect 951 -11 961 -7
rect 1019 -1 1023 3
rect 1046 3 1058 7
rect 1019 -5 1036 -1
rect 957 -17 961 -11
rect 971 -13 987 -9
rect 877 -27 881 -21
rect 901 -27 905 -21
rect 949 -27 953 -21
rect 971 -27 975 -21
rect 877 -31 891 -27
rect 895 -31 941 -27
rect 945 -31 959 -27
rect 963 -31 979 -27
rect 908 -58 912 -54
rect 916 -58 924 -54
rect 928 -58 936 -54
rect 940 -58 944 -54
rect 912 -62 916 -58
rect 936 -62 940 -58
rect 924 -72 928 -66
rect 775 -77 819 -73
rect 827 -77 843 -73
rect 865 -76 916 -72
rect 924 -76 940 -72
rect 775 -80 779 -77
rect 839 -82 843 -77
rect 751 -88 755 -84
rect 812 -87 829 -83
rect 747 -92 751 -88
rect 755 -92 763 -88
rect 767 -92 775 -88
rect 779 -92 783 -88
rect 839 -93 843 -86
rect 901 -86 926 -82
rect 936 -83 940 -76
rect 815 -101 819 -97
rect 811 -105 815 -101
rect 819 -105 827 -101
rect 831 -105 839 -101
rect 843 -105 847 -101
rect 596 -111 682 -107
rect 901 -107 905 -86
rect 936 -92 940 -87
rect 912 -100 916 -96
rect 908 -104 912 -100
rect 916 -104 925 -100
rect 929 -104 936 -100
rect 940 -104 944 -100
rect 983 -107 987 -13
rect 1019 -70 1023 -5
rect 1028 -9 1032 -5
rect 1046 -17 1050 3
rect 1068 -9 1074 -7
rect 1068 -11 1070 -9
rect 1078 -17 1082 11
rect 1086 -17 1090 11
rect 1112 -7 1116 11
rect 1131 3 1137 7
rect 1106 -11 1116 -7
rect 1112 -17 1116 -11
rect 1126 -13 1143 -9
rect 1032 -27 1036 -21
rect 1056 -27 1060 -21
rect 1104 -27 1108 -21
rect 1126 -27 1130 -21
rect 1032 -31 1046 -27
rect 1050 -31 1096 -27
rect 1100 -31 1114 -27
rect 1118 -31 1134 -27
rect 1139 -35 1143 -13
rect 1041 -38 1143 -35
rect 1045 -39 1143 -38
rect 1041 -60 1045 -42
rect 1052 -46 1056 -42
rect 1060 -46 1068 -42
rect 1072 -46 1080 -42
rect 1084 -46 1088 -42
rect 1056 -50 1060 -46
rect 1080 -50 1084 -46
rect 1068 -60 1072 -54
rect 1116 -59 1120 -55
rect 1124 -59 1132 -55
rect 1136 -59 1144 -55
rect 1148 -59 1152 -55
rect 1041 -64 1060 -60
rect 1068 -64 1084 -60
rect 1019 -74 1070 -70
rect 1080 -73 1084 -64
rect 1120 -63 1124 -59
rect 1144 -63 1148 -59
rect 1132 -73 1136 -67
rect 1080 -77 1124 -73
rect 1132 -77 1148 -73
rect 1080 -80 1084 -77
rect 1056 -88 1060 -84
rect 1117 -87 1134 -83
rect 1052 -92 1056 -88
rect 1060 -92 1068 -88
rect 1072 -92 1080 -88
rect 1084 -92 1088 -88
rect 1144 -93 1148 -77
rect 1120 -101 1124 -97
rect 1116 -105 1120 -101
rect 1124 -105 1132 -101
rect 1136 -105 1144 -101
rect 1148 -105 1152 -101
rect 901 -111 987 -107
<< metal2 >>
rect 18 2 58 6
rect 173 2 214 6
rect 322 3 362 7
rect 477 3 518 7
rect 626 3 666 7
rect 781 3 822 7
rect 931 3 971 7
rect 1086 3 1127 7
rect -12 -10 -4 -8
rect -36 -12 -4 -10
rect 143 -10 151 -8
rect -36 -14 -8 -12
rect 119 -12 151 -10
rect 292 -9 300 -7
rect 119 -14 147 -12
rect 268 -11 300 -9
rect 447 -9 455 -7
rect 268 -13 296 -11
rect 423 -11 455 -9
rect 596 -9 604 -7
rect 423 -13 451 -11
rect 572 -11 604 -9
rect 751 -9 759 -7
rect 572 -13 600 -11
rect 727 -11 759 -9
rect 901 -9 909 -7
rect 727 -13 755 -11
rect 877 -11 909 -9
rect 1056 -9 1064 -7
rect 877 -13 905 -11
rect 1032 -11 1064 -9
rect 1032 -13 1060 -11
rect 550 -40 736 -36
rect 246 -44 432 -40
rect 246 -82 250 -44
rect 550 -80 554 -40
rect 27 -88 110 -84
rect 106 -98 110 -88
rect 192 -88 200 -84
rect 235 -86 250 -82
rect 331 -87 414 -83
rect 192 -98 196 -88
rect 106 -102 196 -98
rect 410 -97 414 -87
rect 496 -87 504 -83
rect 539 -84 554 -80
rect 856 -42 1041 -38
rect 856 -82 860 -42
rect 635 -87 718 -83
rect 496 -97 500 -87
rect 410 -101 500 -97
rect 714 -97 718 -87
rect 800 -87 808 -83
rect 843 -86 860 -82
rect 940 -87 1023 -83
rect 800 -97 804 -87
rect 714 -101 804 -97
rect 1019 -97 1023 -87
rect 1105 -87 1113 -83
rect 1105 -97 1109 -87
rect 1019 -101 1109 -97
<< ntransistor >>
rect -28 -22 -26 -18
rect -6 -22 -4 -18
rect 6 -22 8 -18
rect 24 -22 26 -18
rect 32 -22 34 -18
rect 52 -22 54 -18
rect 127 -22 129 -18
rect 149 -22 151 -18
rect 161 -22 163 -18
rect 179 -22 181 -18
rect 187 -22 189 -18
rect 207 -22 209 -18
rect 276 -21 278 -17
rect 298 -21 300 -17
rect 310 -21 312 -17
rect 328 -21 330 -17
rect 336 -21 338 -17
rect 356 -21 358 -17
rect 431 -21 433 -17
rect 453 -21 455 -17
rect 465 -21 467 -17
rect 483 -21 485 -17
rect 491 -21 493 -17
rect 511 -21 513 -17
rect 580 -21 582 -17
rect 602 -21 604 -17
rect 614 -21 616 -17
rect 632 -21 634 -17
rect 640 -21 642 -17
rect 660 -21 662 -17
rect 735 -21 737 -17
rect 757 -21 759 -17
rect 769 -21 771 -17
rect 787 -21 789 -17
rect 795 -21 797 -17
rect 815 -21 817 -17
rect 885 -21 887 -17
rect 907 -21 909 -17
rect 919 -21 921 -17
rect 937 -21 939 -17
rect 945 -21 947 -17
rect 965 -21 967 -17
rect 1040 -21 1042 -17
rect 1062 -21 1064 -17
rect 1074 -21 1076 -17
rect 1092 -21 1094 -17
rect 1100 -21 1102 -17
rect 1120 -21 1122 -17
rect 151 -85 153 -81
rect 161 -85 163 -81
rect 7 -97 9 -93
rect 17 -97 19 -93
rect 455 -84 457 -80
rect 465 -84 467 -80
rect 215 -98 217 -94
rect 225 -98 227 -94
rect 311 -96 313 -92
rect 321 -96 323 -92
rect 759 -84 761 -80
rect 769 -84 771 -80
rect 519 -97 521 -93
rect 529 -97 531 -93
rect 615 -96 617 -92
rect 625 -96 627 -92
rect 1064 -84 1066 -80
rect 1074 -84 1076 -80
rect 823 -97 825 -93
rect 833 -97 835 -93
rect 920 -96 922 -92
rect 930 -96 932 -92
rect 1128 -97 1130 -93
rect 1138 -97 1140 -93
<< ptransistor >>
rect -28 10 -26 14
rect -6 10 -4 14
rect 2 10 4 14
rect 24 10 26 14
rect 32 10 34 14
rect 52 10 54 14
rect 127 10 129 14
rect 149 10 151 14
rect 157 10 159 14
rect 179 10 181 14
rect 187 10 189 14
rect 207 10 209 14
rect 276 11 278 15
rect 298 11 300 15
rect 306 11 308 15
rect 328 11 330 15
rect 336 11 338 15
rect 356 11 358 15
rect 431 11 433 15
rect 453 11 455 15
rect 461 11 463 15
rect 483 11 485 15
rect 491 11 493 15
rect 511 11 513 15
rect 580 11 582 15
rect 602 11 604 15
rect 610 11 612 15
rect 632 11 634 15
rect 640 11 642 15
rect 660 11 662 15
rect 735 11 737 15
rect 757 11 759 15
rect 765 11 767 15
rect 787 11 789 15
rect 795 11 797 15
rect 815 11 817 15
rect 885 11 887 15
rect 907 11 909 15
rect 915 11 917 15
rect 937 11 939 15
rect 945 11 947 15
rect 965 11 967 15
rect 1040 11 1042 15
rect 1062 11 1064 15
rect 1070 11 1072 15
rect 1092 11 1094 15
rect 1100 11 1102 15
rect 1120 11 1122 15
rect 151 -55 153 -51
rect 161 -55 163 -51
rect 455 -54 457 -50
rect 465 -54 467 -50
rect 759 -54 761 -50
rect 769 -54 771 -50
rect 1064 -54 1066 -50
rect 1074 -54 1076 -50
rect 7 -67 9 -63
rect 17 -67 19 -63
rect 215 -68 217 -64
rect 225 -68 227 -64
rect 311 -66 313 -62
rect 321 -66 323 -62
rect 519 -67 521 -63
rect 529 -67 531 -63
rect 615 -66 617 -62
rect 625 -66 627 -62
rect 823 -67 825 -63
rect 833 -67 835 -63
rect 920 -66 922 -62
rect 930 -66 932 -62
rect 1128 -67 1130 -63
rect 1138 -67 1140 -63
<< polycontact >>
rect -32 -6 -28 -2
rect -10 2 -6 6
rect 2 -14 6 -10
rect 34 -12 38 -8
rect 123 -6 127 -2
rect 54 -14 58 -10
rect 145 2 149 6
rect 157 -14 161 -10
rect 189 -12 193 -8
rect 272 -5 276 -1
rect 209 -14 213 -10
rect 294 3 298 7
rect 306 -13 310 -9
rect 338 -11 342 -7
rect 427 -5 431 -1
rect 358 -13 362 -9
rect 449 3 453 7
rect 461 -13 465 -9
rect 493 -11 497 -7
rect 576 -5 580 -1
rect 513 -13 517 -9
rect 598 3 602 7
rect 610 -13 614 -9
rect 642 -11 646 -7
rect 731 -5 735 -1
rect 662 -13 666 -9
rect 753 3 757 7
rect 765 -13 769 -9
rect 797 -11 801 -7
rect 881 -5 885 -1
rect 817 -13 821 -9
rect 903 3 907 7
rect 915 -13 919 -9
rect 947 -11 951 -7
rect 1036 -5 1040 -1
rect 967 -13 971 -9
rect 1058 3 1062 7
rect 1070 -13 1074 -9
rect 1102 -11 1106 -7
rect 1122 -13 1126 -9
rect 147 -65 151 -61
rect 3 -77 7 -73
rect 13 -87 17 -83
rect 157 -75 161 -71
rect 451 -64 455 -60
rect 211 -78 215 -74
rect 221 -88 225 -84
rect 307 -76 311 -72
rect 317 -86 321 -82
rect 461 -74 465 -70
rect 755 -64 759 -60
rect 515 -77 519 -73
rect 525 -87 529 -83
rect 611 -76 615 -72
rect 621 -86 625 -82
rect 765 -74 769 -70
rect 1060 -64 1064 -60
rect 819 -77 823 -73
rect 829 -87 833 -83
rect 916 -76 920 -72
rect 926 -86 930 -82
rect 1070 -74 1074 -70
rect 1124 -77 1128 -73
rect 1134 -87 1138 -83
<< ndcontact >>
rect -36 -22 -32 -18
rect -22 -22 -18 -18
rect -12 -22 -8 -18
rect 10 -22 14 -18
rect 18 -22 22 -18
rect 36 -22 40 -18
rect 44 -22 48 -18
rect 58 -22 62 -18
rect 119 -22 123 -18
rect 133 -22 137 -18
rect 143 -22 147 -18
rect 165 -22 169 -18
rect 173 -22 177 -18
rect 191 -22 195 -18
rect 199 -22 203 -18
rect 213 -22 217 -18
rect 268 -21 272 -17
rect 282 -21 286 -17
rect 292 -21 296 -17
rect 314 -21 318 -17
rect 322 -21 326 -17
rect 340 -21 344 -17
rect 348 -21 352 -17
rect 362 -21 366 -17
rect 423 -21 427 -17
rect 437 -21 441 -17
rect 447 -21 451 -17
rect 469 -21 473 -17
rect 477 -21 481 -17
rect 495 -21 499 -17
rect 503 -21 507 -17
rect 517 -21 521 -17
rect 572 -21 576 -17
rect 586 -21 590 -17
rect 596 -21 600 -17
rect 618 -21 622 -17
rect 626 -21 630 -17
rect 644 -21 648 -17
rect 652 -21 656 -17
rect 666 -21 670 -17
rect 727 -21 731 -17
rect 741 -21 745 -17
rect 751 -21 755 -17
rect 773 -21 777 -17
rect 781 -21 785 -17
rect 799 -21 803 -17
rect 807 -21 811 -17
rect 821 -21 825 -17
rect 877 -21 881 -17
rect 891 -21 895 -17
rect 901 -21 905 -17
rect 923 -21 927 -17
rect 931 -21 935 -17
rect 949 -21 953 -17
rect 957 -21 961 -17
rect 971 -21 975 -17
rect 1032 -21 1036 -17
rect 1046 -21 1050 -17
rect 1056 -21 1060 -17
rect 1078 -21 1082 -17
rect 1086 -21 1090 -17
rect 1104 -21 1108 -17
rect 1112 -21 1116 -17
rect 1126 -21 1130 -17
rect 143 -85 147 -81
rect 167 -85 171 -81
rect -1 -97 3 -93
rect 23 -97 27 -93
rect 447 -84 451 -80
rect 471 -84 475 -80
rect 207 -98 211 -94
rect 231 -98 235 -94
rect 303 -96 307 -92
rect 327 -96 331 -92
rect 751 -84 755 -80
rect 775 -84 779 -80
rect 511 -97 515 -93
rect 535 -97 539 -93
rect 607 -96 611 -92
rect 631 -96 635 -92
rect 1056 -84 1060 -80
rect 1080 -84 1084 -80
rect 815 -97 819 -93
rect 839 -97 843 -93
rect 912 -96 916 -92
rect 936 -96 940 -92
rect 1120 -97 1124 -93
rect 1144 -97 1148 -93
<< pdcontact >>
rect -36 10 -32 14
rect -22 10 -18 14
rect -12 10 -8 14
rect 10 10 14 14
rect 18 10 22 14
rect 36 10 40 14
rect 44 10 48 14
rect 58 10 62 14
rect 119 10 123 14
rect 133 10 137 14
rect 143 10 147 14
rect 165 10 169 14
rect 173 10 177 14
rect 191 10 195 14
rect 199 10 203 14
rect 213 10 217 14
rect 268 11 272 15
rect 282 11 286 15
rect 292 11 296 15
rect 314 11 318 15
rect 322 11 326 15
rect 340 11 344 15
rect 348 11 352 15
rect 362 11 366 15
rect 423 11 427 15
rect 437 11 441 15
rect 447 11 451 15
rect 469 11 473 15
rect 477 11 481 15
rect 495 11 499 15
rect 503 11 507 15
rect 517 11 521 15
rect 572 11 576 15
rect 586 11 590 15
rect 596 11 600 15
rect 618 11 622 15
rect 626 11 630 15
rect 644 11 648 15
rect 652 11 656 15
rect 666 11 670 15
rect 727 11 731 15
rect 741 11 745 15
rect 751 11 755 15
rect 773 11 777 15
rect 781 11 785 15
rect 799 11 803 15
rect 807 11 811 15
rect 821 11 825 15
rect 877 11 881 15
rect 891 11 895 15
rect 901 11 905 15
rect 923 11 927 15
rect 931 11 935 15
rect 949 11 953 15
rect 957 11 961 15
rect 971 11 975 15
rect 1032 11 1036 15
rect 1046 11 1050 15
rect 1056 11 1060 15
rect 1078 11 1082 15
rect 1086 11 1090 15
rect 1104 11 1108 15
rect 1112 11 1116 15
rect 1126 11 1130 15
rect 143 -55 147 -51
rect 155 -55 159 -51
rect 167 -55 171 -51
rect 447 -54 451 -50
rect 459 -54 463 -50
rect 471 -54 475 -50
rect 751 -54 755 -50
rect 763 -54 767 -50
rect 775 -54 779 -50
rect 1056 -54 1060 -50
rect 1068 -54 1072 -50
rect 1080 -54 1084 -50
rect -1 -67 3 -63
rect 11 -67 15 -63
rect 23 -67 27 -63
rect 207 -68 211 -64
rect 219 -68 223 -64
rect 231 -68 235 -64
rect 303 -66 307 -62
rect 315 -66 319 -62
rect 327 -66 331 -62
rect 511 -67 515 -63
rect 523 -67 527 -63
rect 535 -67 539 -63
rect 607 -66 611 -62
rect 619 -66 623 -62
rect 631 -66 635 -62
rect 815 -67 819 -63
rect 827 -67 831 -63
rect 839 -67 843 -63
rect 912 -66 916 -62
rect 924 -66 928 -62
rect 936 -66 940 -62
rect 1120 -67 1124 -63
rect 1132 -67 1136 -63
rect 1144 -67 1148 -63
<< m2contact >>
rect -40 -14 -36 -10
rect -4 -12 0 -8
rect 14 2 18 6
rect 58 2 62 6
rect 23 -88 27 -84
rect 115 -14 119 -10
rect 151 -12 155 -8
rect 169 2 173 6
rect 214 2 218 6
rect 264 -13 268 -9
rect 300 -11 304 -7
rect 318 3 322 7
rect 362 3 366 7
rect 200 -88 204 -84
rect 231 -86 235 -82
rect 327 -87 331 -83
rect 419 -13 423 -9
rect 455 -11 459 -7
rect 473 3 477 7
rect 518 3 522 7
rect 432 -44 436 -40
rect 568 -13 572 -9
rect 604 -11 608 -7
rect 622 3 626 7
rect 666 3 670 7
rect 504 -87 508 -83
rect 535 -84 539 -80
rect 631 -87 635 -83
rect 723 -13 727 -9
rect 759 -11 763 -7
rect 777 3 781 7
rect 822 3 826 7
rect 736 -40 740 -36
rect 873 -13 877 -9
rect 909 -11 913 -7
rect 927 3 931 7
rect 971 3 975 7
rect 808 -87 812 -83
rect 839 -86 843 -82
rect 936 -87 940 -83
rect 1028 -13 1032 -9
rect 1064 -11 1068 -7
rect 1082 3 1086 7
rect 1127 3 1131 7
rect 1041 -42 1045 -38
rect 1113 -87 1117 -83
<< psubstratepcontact >>
rect -22 -32 -18 -28
rect 28 -32 32 -28
rect 46 -32 50 -28
rect 133 -32 137 -28
rect 183 -32 187 -28
rect 201 -32 205 -28
rect 282 -31 286 -27
rect 332 -31 336 -27
rect 350 -31 354 -27
rect 437 -31 441 -27
rect 487 -31 491 -27
rect 505 -31 509 -27
rect 586 -31 590 -27
rect 636 -31 640 -27
rect 654 -31 658 -27
rect 741 -31 745 -27
rect 791 -31 795 -27
rect 809 -31 813 -27
rect 891 -31 895 -27
rect 941 -31 945 -27
rect 959 -31 963 -27
rect 1046 -31 1050 -27
rect 1096 -31 1100 -27
rect 1114 -31 1118 -27
rect 143 -93 147 -89
rect 155 -93 159 -89
rect 167 -93 171 -89
rect 447 -92 451 -88
rect 459 -92 463 -88
rect 471 -92 475 -88
rect 751 -92 755 -88
rect 763 -92 767 -88
rect 775 -92 779 -88
rect 1056 -92 1060 -88
rect 1068 -92 1072 -88
rect 1080 -92 1084 -88
rect -1 -105 3 -101
rect 12 -105 16 -101
rect 23 -105 27 -101
rect 207 -106 211 -102
rect 219 -106 223 -102
rect 231 -106 235 -102
rect 303 -104 307 -100
rect 316 -104 320 -100
rect 327 -104 331 -100
rect 511 -105 515 -101
rect 523 -105 527 -101
rect 535 -105 539 -101
rect 607 -104 611 -100
rect 620 -104 624 -100
rect 631 -104 635 -100
rect 815 -105 819 -101
rect 827 -105 831 -101
rect 839 -105 843 -101
rect 912 -104 916 -100
rect 925 -104 929 -100
rect 936 -104 940 -100
rect 1120 -105 1124 -101
rect 1132 -105 1136 -101
rect 1144 -105 1148 -101
<< nsubstratencontact >>
rect -20 24 -16 28
rect 14 24 18 28
rect 48 24 52 28
rect 135 24 139 28
rect 169 24 173 28
rect 203 24 207 28
rect 284 25 288 29
rect 318 25 322 29
rect 352 25 356 29
rect 439 25 443 29
rect 473 25 477 29
rect 507 25 511 29
rect 588 25 592 29
rect 622 25 626 29
rect 656 25 660 29
rect 743 25 747 29
rect 777 25 781 29
rect 811 25 815 29
rect 893 25 897 29
rect 927 25 931 29
rect 961 25 965 29
rect 1048 25 1052 29
rect 1082 25 1086 29
rect 1116 25 1120 29
rect 143 -47 147 -43
rect 155 -47 159 -43
rect 167 -47 171 -43
rect 447 -46 451 -42
rect 459 -46 463 -42
rect 471 -46 475 -42
rect 751 -46 755 -42
rect 763 -46 767 -42
rect 775 -46 779 -42
rect 1056 -46 1060 -42
rect 1068 -46 1072 -42
rect 1080 -46 1084 -42
rect -1 -59 3 -55
rect 11 -59 15 -55
rect 23 -59 27 -55
rect 207 -60 211 -56
rect 219 -60 223 -56
rect 231 -60 235 -56
rect 303 -58 307 -54
rect 315 -58 319 -54
rect 327 -58 331 -54
rect 511 -59 515 -55
rect 523 -59 527 -55
rect 535 -59 539 -55
rect 607 -58 611 -54
rect 619 -58 623 -54
rect 631 -58 635 -54
rect 815 -59 819 -55
rect 827 -59 831 -55
rect 839 -59 843 -55
rect 912 -58 916 -54
rect 924 -58 928 -54
rect 936 -58 940 -54
rect 1120 -59 1124 -55
rect 1132 -59 1136 -55
rect 1144 -59 1148 -55
<< labels >>
rlabel metal1 4 25 6 27 5 VDD
rlabel metal1 8 -31 10 -29 1 GND
rlabel metal1 159 25 161 27 5 VDD
rlabel metal1 163 -31 165 -29 1 GND
rlabel nsubstratencontact 156 -46 158 -44 1 VDD
rlabel psubstratepcontact 156 -92 158 -90 1 GND
rlabel nsubstratencontact 12 -58 14 -56 1 VDD
rlabel psubstratepcontact 12 -104 14 -102 1 GND
rlabel nsubstratencontact 220 -59 222 -57 1 VDD
rlabel psubstratepcontact 220 -105 222 -103 1 GND
rlabel metal1 129 -39 131 -37 1 Cin
rlabel metal1 308 26 310 28 5 VDD
rlabel metal1 312 -30 314 -28 1 GND
rlabel metal1 463 26 465 28 5 VDD
rlabel metal1 467 -30 469 -28 1 GND
rlabel nsubstratencontact 460 -45 462 -43 1 VDD
rlabel psubstratepcontact 460 -91 462 -89 1 GND
rlabel nsubstratencontact 316 -57 318 -55 1 VDD
rlabel psubstratepcontact 316 -103 318 -101 1 GND
rlabel nsubstratencontact 524 -58 526 -56 1 VDD
rlabel psubstratepcontact 524 -104 526 -102 1 GND
rlabel metal1 612 26 614 28 5 VDD
rlabel metal1 616 -30 618 -28 1 GND
rlabel metal1 767 26 769 28 5 VDD
rlabel metal1 771 -30 773 -28 1 GND
rlabel nsubstratencontact 764 -45 766 -43 1 VDD
rlabel psubstratepcontact 764 -91 766 -89 1 GND
rlabel nsubstratencontact 620 -57 622 -55 1 VDD
rlabel psubstratepcontact 620 -103 622 -101 1 GND
rlabel nsubstratencontact 828 -58 830 -56 1 VDD
rlabel psubstratepcontact 828 -104 830 -102 1 GND
rlabel metal1 917 26 919 28 5 VDD
rlabel metal1 921 -30 923 -28 1 GND
rlabel metal1 1072 26 1074 28 5 VDD
rlabel metal1 1076 -30 1078 -28 1 GND
rlabel nsubstratencontact 1069 -45 1071 -43 1 VDD
rlabel psubstratepcontact 1069 -91 1071 -89 1 GND
rlabel nsubstratencontact 925 -57 927 -55 1 VDD
rlabel psubstratepcontact 925 -103 927 -101 1 GND
rlabel nsubstratencontact 1133 -58 1135 -56 1 VDD
rlabel psubstratepcontact 1133 -104 1135 -102 1 GND
rlabel metal1 1145 -76 1147 -74 1 Cout
rlabel polycontact -31 -5 -29 -3 1 A0
rlabel polycontact 55 -13 57 -11 1 B0
rlabel metal1 221 3 223 5 1 S0
rlabel polycontact 273 -4 275 -2 1 A1
rlabel polycontact 359 -12 361 -10 1 B1
rlabel metal1 525 4 527 6 1 S1
rlabel polycontact 577 -4 579 -2 1 A2
rlabel polycontact 663 -12 665 -10 1 B2
rlabel metal1 829 4 831 6 1 S2
rlabel polycontact 882 -4 884 -2 1 A3
rlabel polycontact 968 -12 970 -10 1 B3
rlabel metal1 1134 4 1136 6 1 S3
<< end >>
